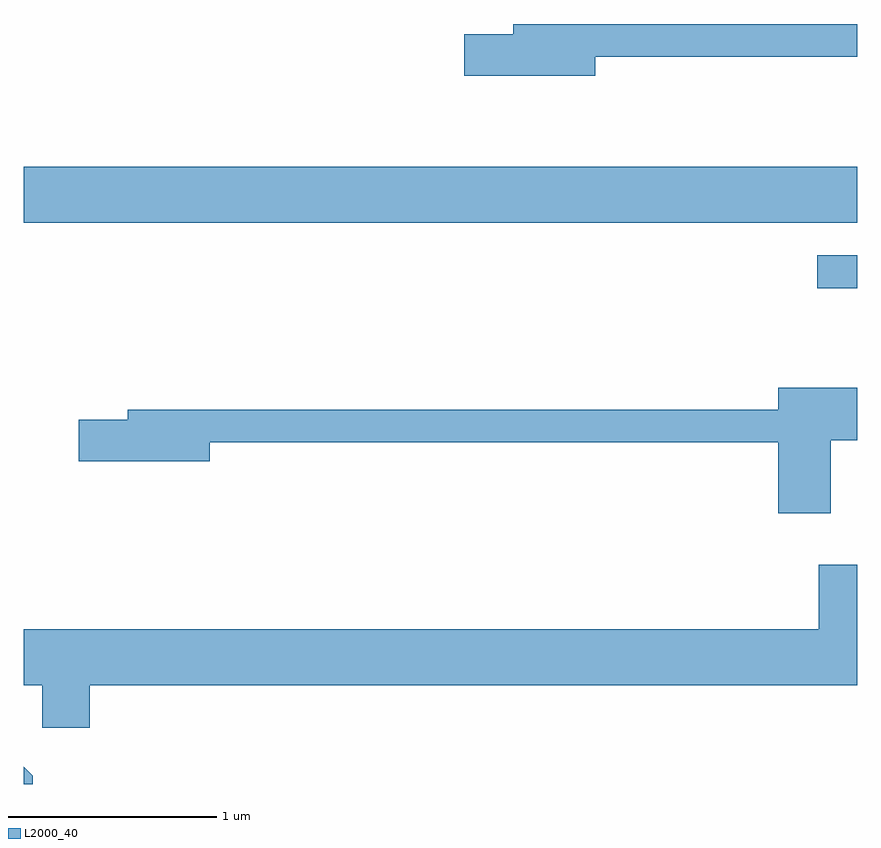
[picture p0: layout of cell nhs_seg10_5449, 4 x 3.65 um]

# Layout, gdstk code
import gdstk
lib = gdstk.Library(unit=1e-6, precision=1e-09)
def R(c, l, rs):  # rectangles x0, y0, x1, y1
    for r in rs: c.add(gdstk.rectangle(r[:2], r[2:], *l))
def P(c, l, *ps):  # polygons
    for p in ps: c.add(gdstk.Polygon(p, *l))
L2000_40 = (2000, 40)

nhs_seg10_5449 = lib.new_cell('nhs_seg10_5449')
R(nhs_seg10_5449, L2000_40, [(349.418,2146.901,349.611,2147.059), (345.611,2147.216,349.611,2147.484)])
P(nhs_seg10_5449, L2000_40, [(348.354,2148.011),(349.611,2148.011),(349.611,2148.169),(347.961,2148.169),(347.961,2148.119),(347.726,2148.119),(347.726,2147.921),(348.354,2147.921)],
  [(349.484,2146.171),(349.611,2146.171),(349.611,2146.424),(349.231,2146.424),(349.231,2146.319),(346.111,2146.319),(346.111,2146.269),(345.876,2146.269),(345.876,2146.071),(346.504,2146.071),(346.504,2146.161),(349.231,2146.161),(349.231,2145.821),(349.484,2145.821)],
  [(345.929,2144.996),(349.611,2144.996),(349.611,2145.574),(349.426,2145.574),(349.426,2145.264),(345.611,2145.264),(345.611,2144.996),(345.701,2144.996),(345.701,2144.791),(345.929,2144.791)],
  [(345.654,2144.562),(345.611,2144.605),(345.611,2144.522),(345.654,2144.522)])

lib.write_gds('nhs_seg10_5449.gds')
